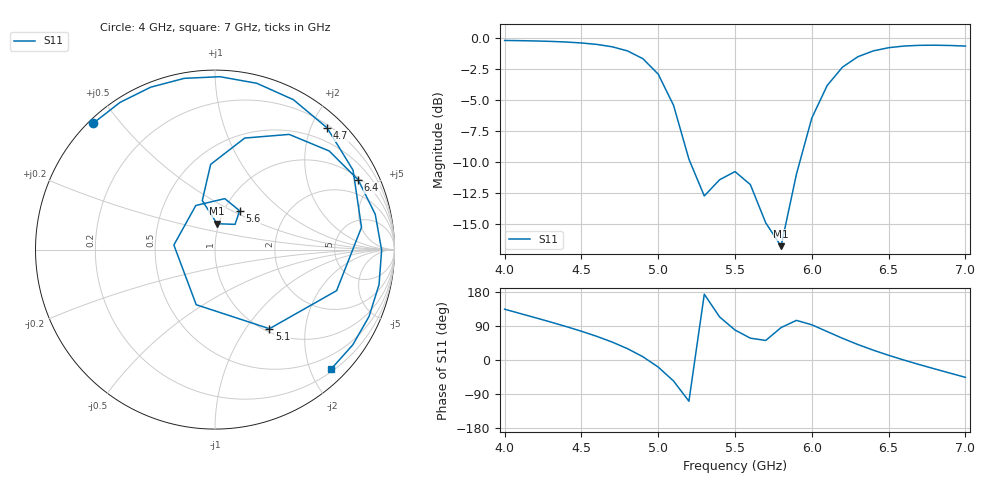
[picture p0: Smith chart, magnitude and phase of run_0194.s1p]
! Touchstone file exported from HFSS 2024.2.0
!  File:  C:/Users/wsak9/Desktop/Sim Fast/Widenad Patch/WP_AI_V1_sweep.aedt
!  Generated:  11:02:31 PM Oct 13, 2026
!  Design:  A1_model
!  Project:  WP_AI_V1_sweep
!  Setup:  Setup1
!  Solution:  Sweep
! Variables:
!  Air_gap = 3.86mm
!  Curve_Amp1 = 2.34
!  Curve_len1 = 1
!  Curve_pos = 10.48mm
!  Extra = 1.86mm
!  H_sub = 0.79mm
!  L_Patch = 16.96mm
!  L_Patch1 = 13.91mm
!  Sx = 4.24mm
!  Sy = 3.49mm
!  WS = 0.33mm
!  W_Patch = 16.07mm
!  W_Patch1 = 12.05mm
!Data is not renormalized
# GHz S MA
! Terminal data exported
! Port[1] = 1
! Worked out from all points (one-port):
!   31 points, 4 GHz to 7 GHz, reference per port
!   lowest |S11| = -16.8 dB at 5.8 GHz (marker M1), VSWR 1.34
!   |S11| at or under -10 dB: 5.208 GHz to 5.922 GHz (714.2 MHz wide, 12.8 % of centre)
!   S11 on the Smith chart (normalised r, x): 4 GHz: 0.01, +0.42; 4.7 GHz: 0.25, +2.26; 5.1 GHz: 1.05, -1.30; 5.6 GHz: 1.18, +0.55; 6.4 GHz: 1.11, +4.05; 7 GHz: 0.24, -2.35
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4  0.9779 134.0
4.2  0.9733 111.6
4.4  0.9637 88.4
4.5  0.9554 75.9
4.6  0.9426 62.4
4.7  0.9221 47.4
4.8  0.8874 29.9
4.9  0.8257 8.7
5  0.7151 -18.7
5.1  0.5351 -55.5
5.2  0.3245 -108.8
5.3  0.2306 173.7
5.4  0.2681 113.5
5.5  0.2892 79.1
5.6  0.2562 57.6
5.7  0.1796 51.6
5.8  0.1446 85.6
5.9  0.2823 104.6
6  0.4753 92.9
6.1  0.6432 75.1
6.2  0.7634 57.2
6.3  0.8406 40.8
6.4  0.8874 26.0
6.5  0.9142 12.4
6.6  0.9284 -0.2
6.7  0.9346 -12.1
6.8  0.9357 -23.5
7  0.9282 -45.7
